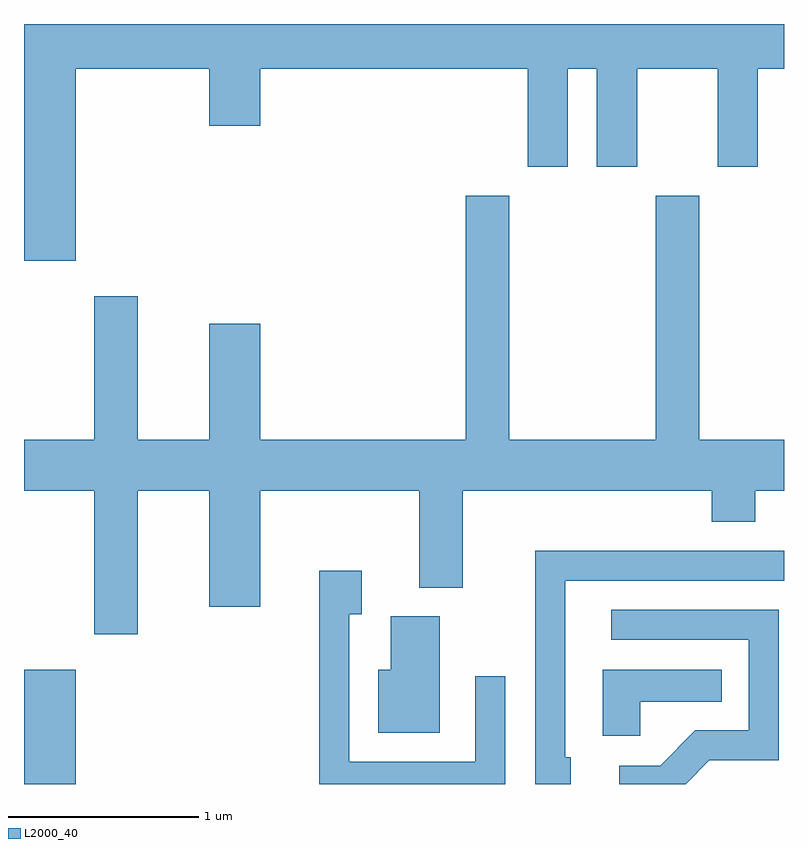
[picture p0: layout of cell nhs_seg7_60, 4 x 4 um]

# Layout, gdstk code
import gdstk
lib = gdstk.Library(unit=1e-6, precision=1e-09)
def R(c, l, rs):  # rectangles x0, y0, x1, y1
    for r in rs: c.add(gdstk.rectangle(r[:2], r[2:], *l))
def P(c, l, *ps):  # polygons
    for p in ps: c.add(gdstk.Polygon(p, *l))
L2000_40 = (2000, 40)

nhs_seg7_60 = lib.new_cell('nhs_seg7_60')
R(nhs_seg7_60, L2000_40, [(185.611,1788.252,185.884,1788.854)])
P(nhs_seg7_60, L2000_40, [(185.884,1792.016),(186.586,1792.016),(186.586,1791.716),(186.854,1791.716),(186.854,1792.016),(188.261,1792.016),(188.261,1791.501),(188.474,1791.501),(188.474,1792.016),(188.626,1792.016),(188.626,1791.501),(188.839,1791.501),(188.839,1792.016),(189.261,1792.016),(189.261,1791.501),(189.474,1791.501),(189.474,1792.016),(189.611,1792.016),(189.611,1792.252),(185.611,1792.252),(185.611,1791.006),(185.884,1791.006)],
  [(186.209,1789.796),(186.586,1789.796),(186.586,1789.186),(186.854,1789.186),(186.854,1789.796),(187.691,1789.796),(187.691,1789.286),(187.919,1789.286),(187.919,1789.796),(189.231,1789.796),(189.231,1789.631),(189.459,1789.631),(189.459,1789.796),(189.611,1789.796),(189.611,1790.064),(189.164,1790.064),(189.164,1791.349),(188.936,1791.349),(188.936,1790.064),(188.164,1790.064),(188.164,1791.349),(187.936,1791.349),(187.936,1790.064),(186.854,1790.064),(186.854,1790.674),(186.586,1790.674),(186.586,1790.064),(186.209,1790.064),(186.209,1790.819),(185.981,1790.819),(185.981,1790.064),(185.611,1790.064),(185.611,1789.796),(185.981,1789.796),(185.981,1789.041),(186.209,1789.041)],
  [(188.489,1788.394),(188.459,1788.394),(188.459,1789.321),(189.611,1789.321),(189.611,1789.479),(188.301,1789.479),(188.301,1788.252),(188.489,1788.252)],
  [(188.144,1788.818),(187.986,1788.818),(187.986,1788.369),(187.324,1788.369),(187.324,1789.146),(187.389,1789.146),(187.389,1789.374),(187.166,1789.374),(187.166,1788.252),(188.144,1788.252)],
  [(189.217,1788.376),(189.584,1788.376),(189.584,1789.169),(188.703,1789.169),(188.703,1789.011),(189.426,1789.011),(189.426,1788.534),(189.144,1788.534),(188.959,1788.349),(188.743,1788.349),(188.743,1788.252),(189.093,1788.252)],
  [(187.799,1789.134),(187.541,1789.134),(187.541,1788.854),(187.476,1788.854),(187.476,1788.521),(187.799,1788.521)],
  [(188.854,1788.686),(189.283,1788.686),(189.283,1788.854),(188.656,1788.854),(188.656,1788.506),(188.854,1788.506)])

lib.write_gds('nhs_seg7_60.gds')
